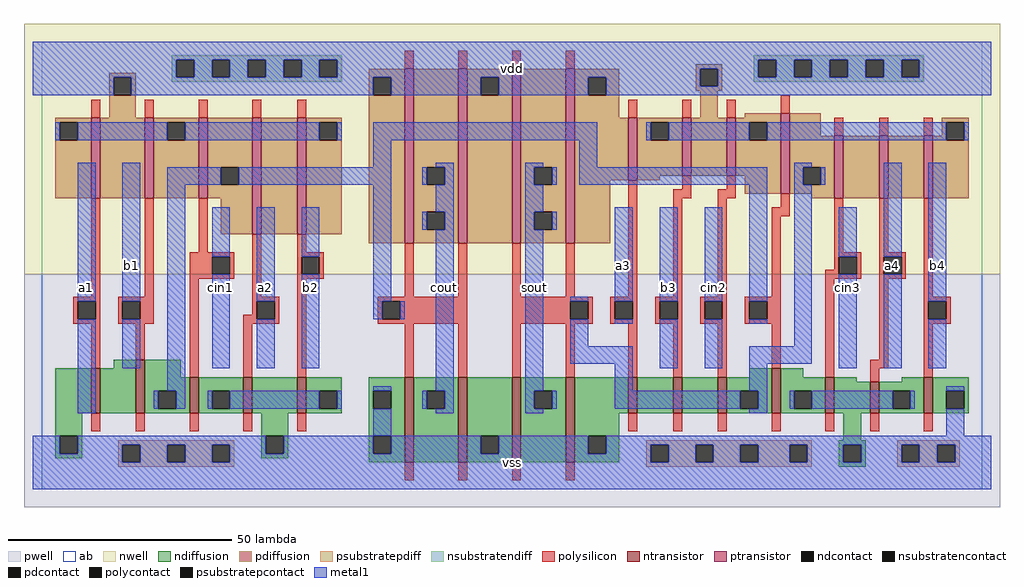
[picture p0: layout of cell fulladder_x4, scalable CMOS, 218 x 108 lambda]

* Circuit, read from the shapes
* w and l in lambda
.subckt fulladder_x4 a1 a2 a3 a4 b1 b2 b3 b4 cin1 cin2 cin3 cout sout vdd vss
M1 n1 a1 vss vss nfet w=10 l=2
M2 n2 b1 n1 vss nfet w=12 l=2
M3 n3 cin1 n2 vss nfet w=8 l=2
M4 vss a2 n3 vss nfet w=8 l=2
M5 n3 b2 vss vss nfet w=8 l=2
M6 cout n2 vss vss nfet w=19 l=2 m=2
M7 sout n4 vss vss nfet w=19 l=2 m=2
M8 n5 a3 vss vss nfet w=8 l=2
M9 n6 b3 n5 vss nfet w=8 l=2
M10 n4 cin2 n6 vss nfet w=8 l=2
M11 n7 n2 n4 vss nfet w=10 l=2
M12 vss cin3 n7 vss nfet w=8 l=2
M13 n7 a4 vss vss nfet w=7 l=2
M14 vss b4 n7 vss nfet w=8 l=2
M15 vdd a1 n8 vdd pfet w=18 l=2
M16 n8 b1 vdd vdd pfet w=18 l=2
M17 n2 cin1 n8 vdd pfet w=18 l=2
M18 n9 a2 n2 vdd pfet w=26 l=2
M19 n8 b2 n9 vdd pfet w=26 l=2
M20 cout n2 vdd vdd pfet w=39 l=2 m=2
M21 sout n4 vdd vdd pfet w=39 l=2 m=2
M22 n10 a3 vdd vdd pfet w=14 l=2
M23 vdd b3 n10 vdd pfet w=13 l=2
M24 n10 cin2 vdd vdd pfet w=13 l=2
M25 n4 n2 n10 vdd pfet w=18 l=2
M26 n11 cin3 n4 vdd pfet w=14 l=2
M27 n12 a4 n11 vdd pfet w=14 l=2
M28 n10 b4 n12 vdd pfet w=14 l=2
.ends

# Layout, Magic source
magic
tech scmos
<< ab >>
rect 0 0 210 100
<< pwell >>
rect -4 -4 214 48
<< nwell >>
rect -4 48 214 104
<< polysilicon >>
rect 81 94 83 98
rect 93 94 95 98
rect 105 94 107 98
rect 117 94 119 98
rect 11 83 13 87
rect 23 83 25 87
rect 35 83 37 87
rect 47 83 49 87
rect 57 83 59 87
rect 11 43 13 65
rect 23 43 25 65
rect 35 53 37 65
rect 7 42 13 43
rect 7 38 8 42
rect 12 38 13 42
rect 7 37 13 38
rect 17 42 25 43
rect 17 38 18 42
rect 22 38 25 42
rect 17 37 25 38
rect 33 52 43 53
rect 33 48 38 52
rect 42 48 43 52
rect 33 47 43 48
rect 11 27 13 37
rect 21 29 23 37
rect 33 25 35 47
rect 47 43 49 57
rect 57 53 59 57
rect 131 83 133 87
rect 143 83 145 87
rect 153 83 155 87
rect 165 84 167 88
rect 57 52 63 53
rect 57 48 58 52
rect 62 48 63 52
rect 57 47 63 48
rect 47 42 53 43
rect 47 39 48 42
rect 45 38 48 39
rect 52 38 53 42
rect 45 37 53 38
rect 45 25 47 37
rect 57 25 59 47
rect 81 43 83 55
rect 93 43 95 55
rect 75 42 95 43
rect 75 38 76 42
rect 80 38 95 42
rect 75 37 95 38
rect 81 25 83 37
rect 93 25 95 37
rect 105 43 107 55
rect 117 43 119 55
rect 131 43 133 69
rect 143 67 145 70
rect 153 67 155 70
rect 141 65 145 67
rect 151 65 155 67
rect 177 79 179 83
rect 187 79 189 83
rect 197 79 199 83
rect 141 43 143 65
rect 151 43 153 65
rect 165 63 167 66
rect 163 61 167 63
rect 163 43 165 61
rect 177 53 179 65
rect 187 53 189 65
rect 177 52 183 53
rect 177 49 178 52
rect 105 42 123 43
rect 105 38 118 42
rect 122 38 123 42
rect 105 37 123 38
rect 127 42 133 43
rect 127 38 128 42
rect 132 38 133 42
rect 127 37 133 38
rect 137 42 143 43
rect 137 38 138 42
rect 142 38 143 42
rect 137 37 143 38
rect 147 42 153 43
rect 147 38 148 42
rect 152 38 153 42
rect 147 37 153 38
rect 157 42 165 43
rect 157 38 158 42
rect 162 38 165 42
rect 157 37 165 38
rect 105 25 107 37
rect 117 25 119 37
rect 131 25 133 37
rect 141 25 143 37
rect 151 25 153 37
rect 163 27 165 37
rect 175 48 178 49
rect 182 48 183 52
rect 175 47 183 48
rect 187 52 193 53
rect 187 48 188 52
rect 192 48 193 52
rect 187 47 193 48
rect 11 13 13 17
rect 21 13 23 17
rect 33 13 35 17
rect 45 13 47 17
rect 57 13 59 17
rect 175 25 177 47
rect 187 29 189 47
rect 185 27 189 29
rect 197 43 199 65
rect 197 42 203 43
rect 197 38 198 42
rect 202 38 203 42
rect 197 37 203 38
rect 185 24 187 27
rect 197 25 199 37
rect 131 13 133 17
rect 141 13 143 17
rect 151 13 153 17
rect 163 13 165 17
rect 175 13 177 17
rect 185 13 187 17
rect 197 13 199 17
rect 81 2 83 6
rect 93 2 95 6
rect 105 2 107 6
rect 117 2 119 6
<< ndiffusion >>
rect 16 27 21 29
rect 3 17 11 27
rect 13 17 21 27
rect 23 25 31 29
rect 158 25 163 27
rect 23 22 33 25
rect 23 18 26 22
rect 30 18 33 22
rect 23 17 33 18
rect 35 22 45 25
rect 35 18 38 22
rect 42 18 45 22
rect 35 17 45 18
rect 47 17 57 25
rect 59 22 67 25
rect 59 18 62 22
rect 66 18 67 22
rect 59 17 67 18
rect 73 22 81 25
rect 73 18 74 22
rect 78 18 81 22
rect 3 12 9 17
rect 3 8 4 12
rect 8 8 9 12
rect 49 12 55 17
rect 3 7 9 8
rect 49 8 50 12
rect 54 8 55 12
rect 49 7 55 8
rect 73 12 81 18
rect 73 8 74 12
rect 78 8 81 12
rect 73 6 81 8
rect 83 22 93 25
rect 83 18 86 22
rect 90 18 93 22
rect 83 6 93 18
rect 95 12 105 25
rect 95 8 98 12
rect 102 8 105 12
rect 95 6 105 8
rect 107 22 117 25
rect 107 18 110 22
rect 114 18 117 22
rect 107 6 117 18
rect 119 17 131 25
rect 133 17 141 25
rect 143 17 151 25
rect 153 22 163 25
rect 153 18 156 22
rect 160 18 163 22
rect 153 17 163 18
rect 165 25 170 27
rect 165 22 175 25
rect 165 18 168 22
rect 172 18 175 22
rect 165 17 175 18
rect 177 24 182 25
rect 192 24 197 25
rect 177 17 185 24
rect 187 22 197 24
rect 187 18 190 22
rect 194 18 197 22
rect 187 17 197 18
rect 199 22 207 25
rect 199 18 202 22
rect 206 18 207 22
rect 199 17 207 18
rect 119 12 129 17
rect 119 8 122 12
rect 126 8 129 12
rect 179 11 183 17
rect 119 6 129 8
rect 178 10 184 11
rect 178 6 179 10
rect 183 6 184 10
rect 178 5 184 6
<< pdiffusion >>
rect 15 92 21 93
rect 15 88 16 92
rect 20 88 21 92
rect 146 94 152 95
rect 73 92 81 94
rect 15 83 21 88
rect 73 88 74 92
rect 78 88 81 92
rect 3 82 11 83
rect 3 78 4 82
rect 8 78 11 82
rect 3 65 11 78
rect 13 65 23 83
rect 25 82 35 83
rect 25 78 28 82
rect 32 78 35 82
rect 25 65 35 78
rect 37 72 47 83
rect 37 68 40 72
rect 44 68 47 72
rect 37 65 47 68
rect 40 57 47 65
rect 49 57 57 83
rect 59 82 67 83
rect 59 78 62 82
rect 66 78 67 82
rect 59 57 67 78
rect 73 55 81 88
rect 83 72 93 94
rect 83 68 86 72
rect 90 68 93 72
rect 83 62 93 68
rect 83 58 86 62
rect 90 58 93 62
rect 83 55 93 58
rect 95 92 105 94
rect 95 88 98 92
rect 102 88 105 92
rect 95 55 105 88
rect 107 72 117 94
rect 107 68 110 72
rect 114 68 117 72
rect 107 62 117 68
rect 107 58 110 62
rect 114 58 117 62
rect 107 55 117 58
rect 119 92 129 94
rect 119 88 122 92
rect 126 88 129 92
rect 146 90 147 94
rect 151 90 152 94
rect 146 89 152 90
rect 119 83 129 88
rect 147 83 151 89
rect 157 83 165 84
rect 119 69 131 83
rect 133 82 143 83
rect 133 78 136 82
rect 140 78 143 82
rect 133 70 143 78
rect 145 70 153 83
rect 155 82 165 83
rect 155 78 158 82
rect 162 78 165 82
rect 155 70 165 78
rect 133 69 138 70
rect 119 55 127 69
rect 157 66 165 70
rect 167 79 174 84
rect 201 82 207 83
rect 201 79 202 82
rect 167 72 177 79
rect 167 68 170 72
rect 174 68 177 72
rect 167 66 177 68
rect 172 65 177 66
rect 179 65 187 79
rect 189 65 197 79
rect 199 78 202 79
rect 206 78 207 82
rect 199 65 207 78
<< metal1 >>
rect -2 96 212 100
rect -2 92 30 96
rect 34 92 38 96
rect 42 92 46 96
rect 50 92 54 96
rect 58 92 62 96
rect 66 94 160 96
rect 66 92 147 94
rect -2 88 16 92
rect 20 88 74 92
rect 78 88 98 92
rect 102 88 122 92
rect 126 90 147 92
rect 151 92 160 94
rect 164 92 168 96
rect 172 92 176 96
rect 180 92 184 96
rect 188 92 192 96
rect 196 92 212 96
rect 151 90 212 92
rect 126 88 212 90
rect 3 78 4 82
rect 8 78 28 82
rect 32 78 62 82
rect 66 78 67 82
rect 74 78 124 82
rect 135 78 136 82
rect 140 78 158 82
rect 162 78 202 82
rect 206 78 207 82
rect 8 42 12 73
rect 8 17 12 38
rect 18 42 22 73
rect 74 72 78 78
rect 88 72 92 73
rect 18 27 22 38
rect 28 68 40 72
rect 44 68 78 72
rect 85 68 86 72
rect 90 68 92 72
rect 28 22 32 68
rect 38 52 42 63
rect 38 27 42 48
rect 48 42 52 63
rect 48 27 52 38
rect 58 52 62 63
rect 58 27 62 48
rect 74 42 78 68
rect 88 62 92 68
rect 85 58 86 62
rect 90 58 92 62
rect 74 38 76 42
rect 80 38 81 42
rect 74 22 78 23
rect 88 22 92 58
rect 25 18 26 22
rect 30 18 32 22
rect 37 18 38 22
rect 42 18 62 22
rect 66 18 67 22
rect 85 18 86 22
rect 90 18 92 22
rect 74 12 78 18
rect 88 17 92 18
rect 108 72 112 73
rect 120 72 124 78
rect 168 72 172 73
rect 108 68 110 72
rect 114 68 115 72
rect 120 68 162 72
rect 108 62 112 68
rect 108 58 110 62
rect 114 58 115 62
rect 108 22 112 58
rect 118 42 122 43
rect 118 32 122 38
rect 128 42 132 63
rect 128 37 132 38
rect 138 42 142 63
rect 118 28 132 32
rect 128 22 132 28
rect 138 27 142 38
rect 148 42 152 63
rect 148 27 152 38
rect 158 42 162 68
rect 158 37 162 38
rect 168 68 170 72
rect 174 68 175 72
rect 168 32 172 68
rect 158 28 172 32
rect 178 52 182 63
rect 158 22 162 28
rect 178 27 182 48
rect 188 52 192 73
rect 188 27 192 48
rect 198 42 202 73
rect 198 27 202 38
rect 202 22 206 23
rect 108 18 110 22
rect 114 18 115 22
rect 128 18 156 22
rect 160 18 162 22
rect 167 18 168 22
rect 172 18 190 22
rect 194 18 195 22
rect 108 17 112 18
rect 158 17 162 18
rect 202 12 206 18
rect -2 8 4 12
rect 8 10 50 12
rect 8 8 18 10
rect -2 6 18 8
rect 22 6 28 10
rect 32 6 38 10
rect 42 8 50 10
rect 54 8 74 12
rect 78 8 98 12
rect 102 8 122 12
rect 126 10 212 12
rect 126 8 136 10
rect 42 6 136 8
rect 140 6 146 10
rect 150 6 156 10
rect 160 6 167 10
rect 171 6 179 10
rect 183 6 192 10
rect 196 6 200 10
rect 204 6 212 10
rect -2 0 212 6
<< ntransistor >>
rect 11 17 13 27
rect 21 17 23 29
rect 33 17 35 25
rect 45 17 47 25
rect 57 17 59 25
rect 81 6 83 25
rect 93 6 95 25
rect 105 6 107 25
rect 117 6 119 25
rect 131 17 133 25
rect 141 17 143 25
rect 151 17 153 25
rect 163 17 165 27
rect 175 17 177 25
rect 185 17 187 24
rect 197 17 199 25
<< ptransistor >>
rect 11 65 13 83
rect 23 65 25 83
rect 35 65 37 83
rect 47 57 49 83
rect 57 57 59 83
rect 81 55 83 94
rect 93 55 95 94
rect 105 55 107 94
rect 117 55 119 94
rect 131 69 133 83
rect 143 70 145 83
rect 153 70 155 83
rect 165 66 167 84
rect 177 65 179 79
rect 187 65 189 79
rect 197 65 199 79
<< polycontact >>
rect 8 38 12 42
rect 18 38 22 42
rect 38 48 42 52
rect 58 48 62 52
rect 48 38 52 42
rect 76 38 80 42
rect 118 38 122 42
rect 128 38 132 42
rect 138 38 142 42
rect 148 38 152 42
rect 158 38 162 42
rect 178 48 182 52
rect 188 48 192 52
rect 198 38 202 42
<< ndcontact >>
rect 26 18 30 22
rect 38 18 42 22
rect 62 18 66 22
rect 74 18 78 22
rect 4 8 8 12
rect 50 8 54 12
rect 74 8 78 12
rect 86 18 90 22
rect 98 8 102 12
rect 110 18 114 22
rect 156 18 160 22
rect 168 18 172 22
rect 190 18 194 22
rect 202 18 206 22
rect 122 8 126 12
rect 179 6 183 10
<< pdcontact >>
rect 16 88 20 92
rect 74 88 78 92
rect 4 78 8 82
rect 28 78 32 82
rect 40 68 44 72
rect 62 78 66 82
rect 86 68 90 72
rect 86 58 90 62
rect 98 88 102 92
rect 110 68 114 72
rect 110 58 114 62
rect 122 88 126 92
rect 147 90 151 94
rect 136 78 140 82
rect 158 78 162 82
rect 170 68 174 72
rect 202 78 206 82
<< psubstratepcontact >>
rect 18 6 22 10
rect 28 6 32 10
rect 38 6 42 10
rect 136 6 140 10
rect 146 6 150 10
rect 156 6 160 10
rect 167 6 171 10
rect 192 6 196 10
rect 200 6 204 10
<< nsubstratencontact >>
rect 30 92 34 96
rect 38 92 42 96
rect 46 92 50 96
rect 54 92 58 96
rect 62 92 66 96
rect 160 92 164 96
rect 168 92 172 96
rect 176 92 180 96
rect 184 92 188 96
rect 192 92 196 96
<< psubstratepdiff >>
rect 17 10 43 11
rect 17 6 18 10
rect 22 6 28 10
rect 32 6 38 10
rect 42 6 43 10
rect 135 10 172 11
rect 135 6 136 10
rect 140 6 146 10
rect 150 6 156 10
rect 160 6 167 10
rect 171 6 172 10
rect 17 5 43 6
rect 135 5 172 6
rect 191 10 205 11
rect 191 6 192 10
rect 196 6 200 10
rect 204 6 205 10
rect 191 5 205 6
<< nsubstratendiff >>
rect 29 96 67 97
rect 29 92 30 96
rect 34 92 38 96
rect 42 92 46 96
rect 50 92 54 96
rect 58 92 62 96
rect 66 92 67 96
rect 159 96 197 97
rect 29 91 67 92
rect 159 92 160 96
rect 164 92 168 96
rect 172 92 176 96
rect 180 92 184 96
rect 188 92 192 96
rect 196 92 197 96
rect 159 91 197 92
<< labels >>
rlabel metal1 20 50 20 50 6 b1
rlabel metal1 10 45 10 45 6 a1
rlabel metal1 40 45 40 45 6 cin1
rlabel metal1 50 45 50 45 6 a2
rlabel metal1 60 45 60 45 6 b2
rlabel metal1 105 6 105 6 6 vss
rlabel metal1 90 45 90 45 6 cout
rlabel metal1 110 45 110 45 6 sout
rlabel metal1 105 94 105 94 6 vdd
rlabel metal1 130 50 130 50 6 a3
rlabel metal1 140 45 140 45 6 b3
rlabel metal1 150 45 150 45 6 cin2
rlabel metal1 200 50 200 50 6 b4
rlabel polycontact 190 50 190 50 6 a4
rlabel metal1 180 45 180 45 6 cin3
<< end >>
